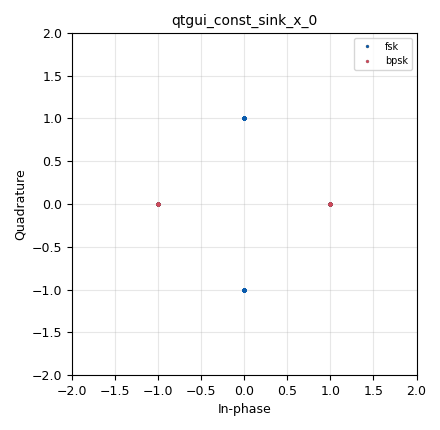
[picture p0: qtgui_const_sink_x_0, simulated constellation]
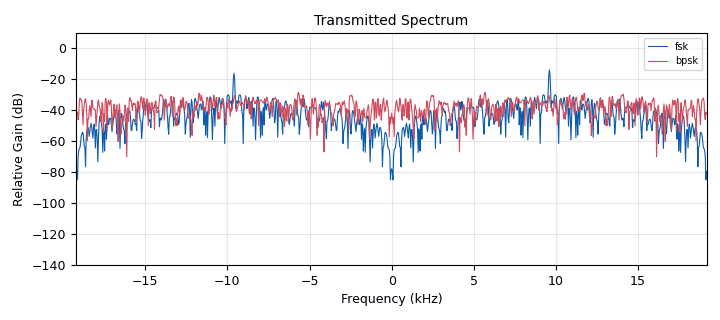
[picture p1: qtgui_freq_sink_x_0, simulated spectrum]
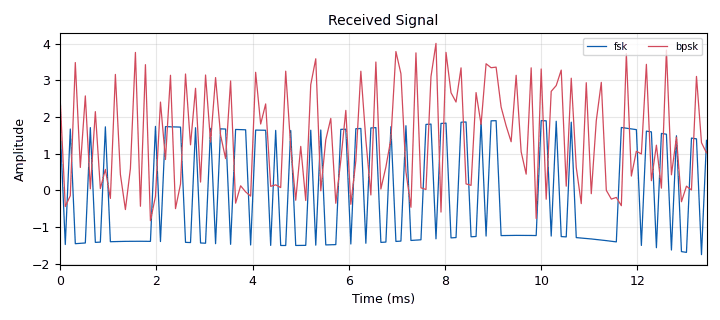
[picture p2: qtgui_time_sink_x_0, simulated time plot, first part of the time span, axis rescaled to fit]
options:
  parameters:
    generate_options: qt_gui
    id: lab2_5
    output_language: python
  states: {}

blocks:
- name: baudrate
  id: variable
  parameters:
    value: '9600.0'
  states: {}
- name: cfo
  id: variable_qtgui_range
  parameters:
    label: Carrier Frequency Offset (Hz)
    orient: Qt.Horizontal
    start: '-samp_rate/2.0'
    step: '10'
    stop: samp_rate/2.0
    value: '0.0'
  states: {}
- name: constelation_bpsk
  id: variable
  parameters:
    value: '[-1,1]'
  states: {}
- name: deviation
  id: variable
  parameters:
    value: '9600.0'
  states: {}
- name: modulation_index
  id: variable
  parameters:
    value: 2.0 * deviation / baudrate
  states: {}
- name: noise
  id: variable_qtgui_range
  parameters:
    label: Noise Amplitude
    orient: Qt.Horizontal
    start: '0'
    step: '0.01'
    stop: '1'
    value: '0.0'
  states: {}
- name: samp_rate
  id: variable
  parameters:
    value: baudrate * sps
  states: {}
- name: sps
  id: variable
  parameters:
    comment: Samples per symbol
    value: '4'
  states: {}
- name: analog_frequency_modulator_fc_0
  id: analog_frequency_modulator_fc
  parameters:
    sensitivity: (math.pi * modulation_index) / sps
  states: {}
- name: analog_noise_source_x_0
  id: analog_noise_source_x
  parameters:
    amp: noise
    noise_type: analog.GR_GAUSSIAN
    seed: '0'
    type: complex
  states: {}
- name: analog_noise_source_x_0_0
  id: analog_noise_source_x
  parameters:
    amp: noise
    noise_type: analog.GR_GAUSSIAN
    seed: '0'
    type: complex
  states: {}
- name: analog_quadrature_demod_cf_0
  id: analog_quadrature_demod_cf
  parameters:
    comment: |-
      Quadrature demodulation block is used to decode
      the signal
    gain: '1.0'
  states: {}
- name: analog_quadrature_demod_cf_0_0
  id: analog_quadrature_demod_cf
  parameters:
    comment: |-
      Quadrature demodulation block is used to decode
      the signal
    gain: '1.0'
  states: {}
- name: analog_random_source_x_0
  id: analog_random_source_x
  parameters:
    max: '256'
    min: '0'
    num_samps: '1000'
    repeat: 'True'
    type: byte
  states: {}
- name: analog_random_source_x_0_0
  id: analog_random_source_x
  parameters:
    max: '256'
    min: '0'
    num_samps: '1000'
    repeat: 'True'
    type: byte
  states: {}
- name: analog_sig_source_x_0
  id: analog_sig_source_x
  parameters:
    amp: '1'
    freq: cfo
    offset: '0'
    phase: '0'
    samp_rate: samp_rate
    type: complex
    waveform: analog.GR_COS_WAVE
  states: {}
- name: analog_sig_source_x_0_0
  id: analog_sig_source_x
  parameters:
    amp: '1'
    freq: cfo
    offset: '0'
    phase: '0'
    samp_rate: samp_rate
    type: complex
    waveform: analog.GR_COS_WAVE
  states: {}
- name: blocks_add_xx_0
  id: blocks_add_xx
  parameters:
    type: complex
  states: {}
- name: blocks_add_xx_0_0
  id: blocks_add_xx
  parameters:
    type: complex
  states: {}
- name: blocks_char_to_float_0
  id: blocks_char_to_float
  parameters:
    scale: '1'
  states: {}
- name: blocks_multiply_xx_0
  id: blocks_multiply_xx
  parameters:
    type: complex
  states: {}
- name: blocks_multiply_xx_0_0
  id: blocks_multiply_xx
  parameters:
    type: complex
  states: {}
- name: blocks_packed_to_unpacked_xx_0
  id: blocks_packed_to_unpacked_xx
  parameters:
    bits_per_chunk: '1'
    comment: Split the byte into a stream of bits
    endianness: gr.GR_MSB_FIRST
    type: byte
  states: {}
- name: blocks_packed_to_unpacked_xx_0_0
  id: blocks_packed_to_unpacked_xx
  parameters:
    bits_per_chunk: '1'
    comment: Split the byte into a stream of bits
    endianness: gr.GR_MSB_FIRST
    type: byte
  states: {}
- name: blocks_repeat_0
  id: blocks_repeat
  parameters:
    interp: sps
    type: float
  states: {}
- name: blocks_throttle_0
  id: blocks_throttle
  parameters:
    samples_per_second: samp_rate * 10
    type: complex
  states: {}
- name: dc_blocker_xx_0
  id: dc_blocker_xx
  parameters:
    length: '32'
    long_form: 'True'
    type: ff
  states: {}
- name: digital_chunks_to_symbols_xx_0
  id: digital_chunks_to_symbols_xx
  parameters:
    dimension: '1'
    in_type: byte
    out_type: complex
    symbol_table: constelation_bpsk
  states: {}
- name: digital_clock_recovery_mm_xx_0
  id: digital_clock_recovery_mm_xx
  parameters:
    gain_mu: '0.175'
    gain_omega: math.pi/100.0
    mu: '0.5'
    omega: sps
    omega_relative_limit: '0.005'
    type: float
  states: {}
- name: digital_clock_recovery_mm_xx_0_0
  id: digital_clock_recovery_mm_xx
  parameters:
    gain_mu: '0.175'
    gain_omega: math.pi/100.0
    mu: '0.5'
    omega: sps
    omega_relative_limit: '0.005'
    type: float
  states: {}
- name: digital_map_bb_0
  id: digital_map_bb
  parameters:
    comment: Map 0 to -1 and 1 to 1.
    map: '[-1, 1]'
  states: {}
- name: import_0
  id: import
  parameters:
    imports: import math
  states: {}
- name: qtgui_const_sink_x_0
  id: qtgui_const_sink_x
  parameters:
    label1: fsk
    label2: bpsk
    nconnections: '2'
    size: '1024'
    type: complex
  states: {}
- name: qtgui_freq_sink_x_0
  id: qtgui_freq_sink_x
  parameters:
    bw: samp_rate
    fc: '0'
    fftsize: '1024'
    label1: fsk
    label2: bpsk
    name: '"Transmitted Spectrum"'
    nconnections: '2'
    showports: 'True'
    type: complex
    wintype: firdes.WIN_BLACKMAN_hARRIS
  states: {}
- name: qtgui_time_sink_x_0
  id: qtgui_time_sink_x
  parameters:
    label1: fsk
    label2: bpsk
    name: '"Received Signal"'
    nconnections: '2'
    size: '1024'
    srate: samp_rate / sps
    type: float
  states: {}

connections:
- [analog_frequency_modulator_fc_0, '0', blocks_add_xx_0, '1']
- [analog_noise_source_x_0, '0', blocks_add_xx_0, '0']
- [analog_noise_source_x_0_0, '0', blocks_add_xx_0_0, '1']
- [analog_quadrature_demod_cf_0, '0', digital_clock_recovery_mm_xx_0, '0']
- [analog_quadrature_demod_cf_0_0, '0', digital_clock_recovery_mm_xx_0_0, '0']
- [analog_random_source_x_0, '0', blocks_packed_to_unpacked_xx_0, '0']
- [analog_random_source_x_0_0, '0', blocks_packed_to_unpacked_xx_0_0, '0']
- [analog_sig_source_x_0, '0', blocks_multiply_xx_0, '0']
- [analog_sig_source_x_0_0, '0', blocks_multiply_xx_0_0, '1']
- [blocks_add_xx_0, '0', blocks_multiply_xx_0, '1']
- [blocks_add_xx_0_0, '0', blocks_multiply_xx_0_0, '0']
- [blocks_char_to_float_0, '0', blocks_repeat_0, '0']
- [blocks_multiply_xx_0, '0', analog_quadrature_demod_cf_0, '0']
- [blocks_multiply_xx_0, '0', blocks_throttle_0, '0']
- [blocks_multiply_xx_0_0, '0', analog_quadrature_demod_cf_0_0, '0']
- [blocks_multiply_xx_0_0, '0', qtgui_const_sink_x_0, '1']
- [blocks_multiply_xx_0_0, '0', qtgui_freq_sink_x_0, '1']
- [blocks_packed_to_unpacked_xx_0, '0', digital_map_bb_0, '0']
- [blocks_packed_to_unpacked_xx_0_0, '0', digital_chunks_to_symbols_xx_0, '0']
- [blocks_repeat_0, '0', analog_frequency_modulator_fc_0, '0']
- [blocks_throttle_0, '0', qtgui_const_sink_x_0, '0']
- [blocks_throttle_0, '0', qtgui_freq_sink_x_0, '0']
- [dc_blocker_xx_0, '0', qtgui_time_sink_x_0, '0']
- [digital_chunks_to_symbols_xx_0, '0', blocks_add_xx_0_0, '0']
- [digital_clock_recovery_mm_xx_0, '0', dc_blocker_xx_0, '0']
- [digital_clock_recovery_mm_xx_0_0, '0', qtgui_time_sink_x_0, '1']
- [digital_map_bb_0, '0', blocks_char_to_float_0, '0']

metadata:
  file_format: 1
